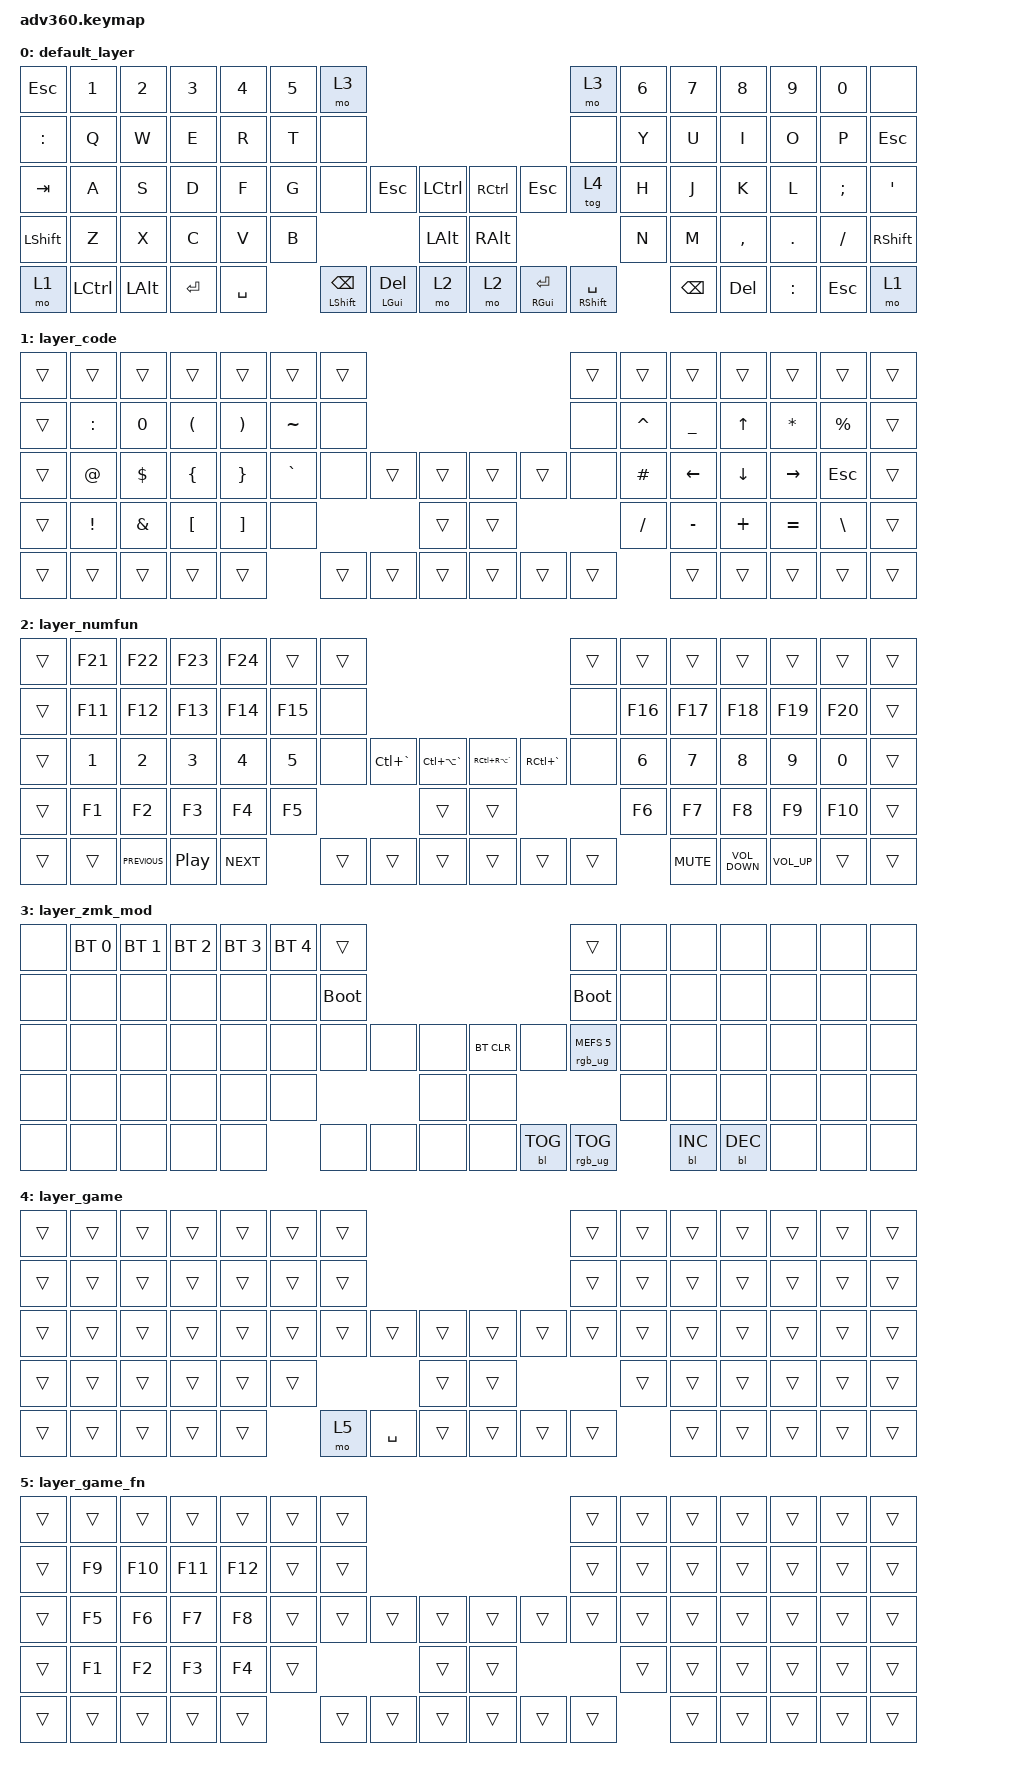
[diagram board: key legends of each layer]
/*
 * Copyright (c) 2020 The ZMK Contributors
 *
 * SPDX-License-Identifier: MIT
 */
/* THIS FILE WAS GENERATED!
 *
 * This file was generated automatically. You may or may not want to
 * edit it directly.
 */

#include <behaviors.dtsi>
#include <dt-bindings/zmk/backlight.h>
#include <dt-bindings/zmk/bt.h>
#include <dt-bindings/zmk/keys.h>
#include <dt-bindings/zmk/rgb.h>

&mt {
    tapping-term-ms = <125>;
    quick_tap_ms = <1>;
    flavor = "tap-preferred";
};

/ {
    behaviors {
        #include "macros.dtsi"

        hm: homerow_mods {
            compatible = "zmk,behavior-hold-tap";
            label = "HOMEROW_MODS";
            #binding-cells = <2>;
            tapping-term-ms = <125>;
            quick_tap_ms = <1>;
            flavor = "tap-preferred";
            bindings = <&kp>, <&kp>;
        };
    };

    keymap {
        compatible = "zmk,keymap";

        default_layer {
            bindings = <
&kp ESCAPE  &kp N1            &kp N2        &kp N3     &kp N4     &kp N5  &mo 3                                                                                                        &mo 3                  &kp N6  &kp N7         &kp N8     &kp N9     &kp N0         &none
&kp COLON   &kp Q             &kp W         &kp E      &kp R      &kp T   &none                                                                                                        &none                  &kp Y   &kp U          &kp I      &kp O      &kp P          &kp ESCAPE
&kp TAB     &kp A             &kp S         &kp D      &kp F      &kp G   &none                     &kp ESCAPE           &kp LEFT_CONTROL      &kp RIGHT_CONTROL  &kp ESCAPE           &tog 4                 &kp H   &kp J          &kp K      &kp L      &kp SEMICOLON  &kp SINGLE_QUOTE
&kp LSHFT   &kp Z             &kp X         &kp C      &kp V      &kp B                                                  &kp LEFT_ALT          &kp RIGHT_ALT                                                  &kp N   &kp M          &kp COMMA  &kp DOT    &kp FSLH       &kp RSHFT
&mo 1       &kp LEFT_CONTROL  &kp LEFT_ALT  &kp ENTER  &kp SPACE          &mt LEFT_SHIFT BACKSPACE  &mt LEFT_GUI DELETE  &mo 2                 &mo 2              &mt RIGHT_GUI ENTER  &mt RIGHT_SHIFT SPACE          &kp BACKSPACE  &kp DEL    &kp COLON  &kp ESCAPE     &mo 1
            >;
        };

        layer_code {
            bindings = <
&trans  &trans     &trans      &trans                &trans                 &trans     &trans                                      &trans  &trans     &trans          &trans          &trans        &trans         &trans
&trans  &kp COLON  &kp N0      &kp LEFT_PARENTHESIS  &kp RIGHT_PARENTHESIS  &kp TILDE  &none                                       &none   &kp CARET  &kp UNDERSCORE  &kp UP_ARROW    &kp ASTERISK  &kp PERCENT    &trans
&trans  &kp AT     &kp DOLLAR  &kp LEFT_BRACE        &kp RIGHT_BRACE        &kp GRAVE  &none   &trans  &trans      &trans  &trans  &none   &kp HASH   &kp LEFT_ARROW  &kp DOWN_ARROW  &kp RIGHT     &kp ESCAPE     &trans
&trans  &kp EXCL   &kp AMPS    &kp LEFT_BRACKET      &kp RIGHT_BRACKET      &none                      &trans      &trans                  &kp SLASH  &kp MINUS       &kp PLUS        &kp EQUAL     &kp BACKSLASH  &trans
&trans  &trans     &trans      &trans                &trans                            &trans  &trans  &trans      &trans  &trans  &trans             &trans          &trans          &trans        &trans         &trans
            >;
        };

        layer_numfun {
            bindings = <
&trans  &kp F21  &kp F22         &kp F23           &kp F24     &trans   &trans                                                                          &trans  &trans   &trans      &trans             &trans           &trans   &trans
&trans  &kp F11  &kp F12         &kp F13           &kp F14     &kp F15  &none                                                                           &none   &kp F16  &kp F17     &kp F18            &kp F19          &kp F20  &trans
&trans  &kp N1   &kp N2          &kp N3            &kp N4      &kp N5   &none   &kp LC(GRAVE)  &kp LC(LA(GRAVE))      &kp RC(RA(GRAVE))  &kp RC(GRAVE)  &none   &kp N6   &kp N7      &kp N8             &kp N9           &kp N0   &trans
&trans  &kp F1   &kp F2          &kp F3            &kp F4      &kp F5                          &trans                 &trans                                    &kp F6   &kp F7      &kp F8             &kp F9           &kp F10  &trans
&trans  &trans   &kp C_PREVIOUS  &kp C_PLAY_PAUSE  &kp C_NEXT           &trans  &trans         &trans                 &trans             &trans         &trans           &kp C_MUTE  &kp C_VOLUME_DOWN  &kp C_VOLUME_UP  &trans   &trans
            >;
        };

        layer_zmk_mod {
            bindings = <
&none  &bt BT_SEL 0  &bt BT_SEL 1  &bt BT_SEL 2  &bt BT_SEL 3  &bt BT_SEL 4  &trans                                                 &trans                  &none  &none       &none       &none  &none  &none
&none  &none         &none         &none         &none         &none         &bootloader                                            &bootloader             &none  &none       &none       &none  &none  &none
&none  &none         &none         &none         &none         &none         &none        &none  &none      &bt BT_CLR  &none       &rgb_ug RGB_MEFS_CMD 5  &none  &none       &none       &none  &none  &none
&none  &none         &none         &none         &none         &none                             &none      &none                                           &none  &none       &none       &none  &none  &none
&none  &none         &none         &none         &none                       &none        &none  &none      &none       &bl BL_TOG  &rgb_ug RGB_TOG                &bl BL_INC  &bl BL_DEC  &none  &none  &none
            >;
        };

        layer_game {
            bindings = <
&trans  &trans  &trans  &trans  &trans  &trans  &trans                                         &trans  &trans  &trans  &trans  &trans  &trans  &trans
&trans  &trans  &trans  &trans  &trans  &trans  &trans                                         &trans  &trans  &trans  &trans  &trans  &trans  &trans
&trans  &trans  &trans  &trans  &trans  &trans  &trans  &trans     &trans      &trans  &trans  &trans  &trans  &trans  &trans  &trans  &trans  &trans
&trans  &trans  &trans  &trans  &trans  &trans                     &trans      &trans                  &trans  &trans  &trans  &trans  &trans  &trans
&trans  &trans  &trans  &trans  &trans          &mo 5   &kp SPACE  &trans      &trans  &trans  &trans          &trans  &trans  &trans  &trans  &trans
            >;
        };

        layer_game_fn {
            bindings = <
&trans  &trans  &trans   &trans   &trans   &trans  &trans                                      &trans  &trans  &trans  &trans  &trans  &trans  &trans
&trans  &kp F9  &kp F10  &kp F11  &kp F12  &trans  &trans                                      &trans  &trans  &trans  &trans  &trans  &trans  &trans
&trans  &kp F5  &kp F6   &kp F7   &kp F8   &trans  &trans  &trans  &trans      &trans  &trans  &trans  &trans  &trans  &trans  &trans  &trans  &trans
&trans  &kp F1  &kp F2   &kp F3   &kp F4   &trans                  &trans      &trans                  &trans  &trans  &trans  &trans  &trans  &trans
&trans  &trans  &trans   &trans   &trans           &trans  &trans  &trans      &trans  &trans  &trans          &trans  &trans  &trans  &trans  &trans
            >;
        };
    };
};
